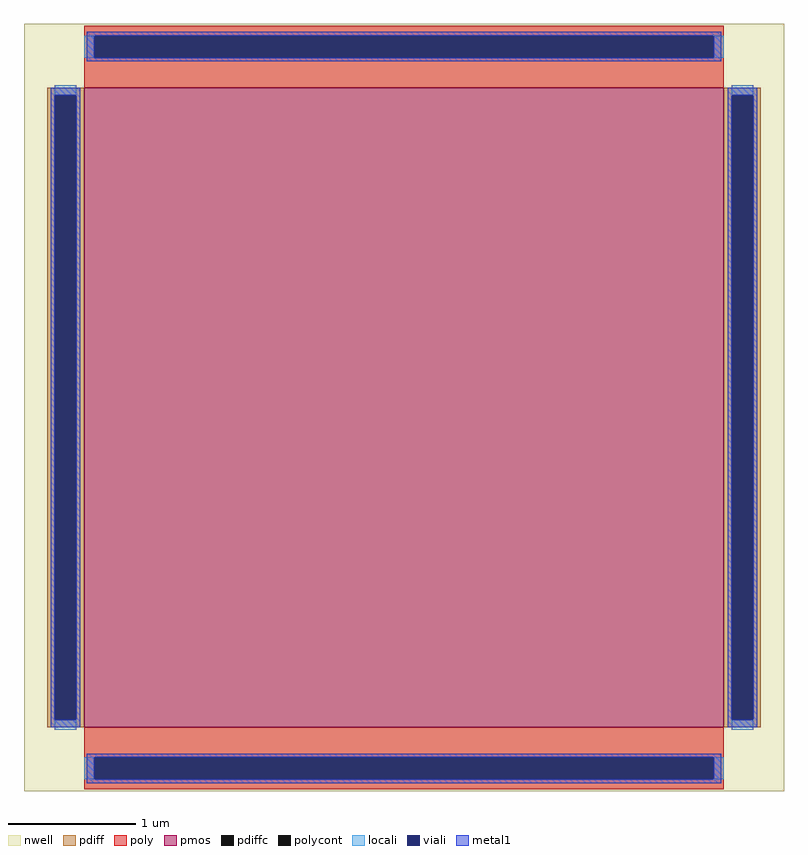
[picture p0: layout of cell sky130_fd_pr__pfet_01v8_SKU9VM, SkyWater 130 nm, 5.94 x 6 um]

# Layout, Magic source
magic
tech sky130A
magscale 1 2
<< nwell >>
rect -594 -600 594 600
<< pmos >>
rect -500 -500 500 500
<< pdiff >>
rect -558 488 -500 500
rect -558 -488 -546 488
rect -512 -488 -500 488
rect -558 -500 -500 -488
rect 500 488 558 500
rect 500 -488 512 488
rect 546 -488 558 488
rect 500 -500 558 -488
<< pdiffc >>
rect -546 -488 -512 488
rect 512 -488 546 488
<< poly >>
rect -500 581 500 597
rect -500 547 -484 581
rect 484 547 500 581
rect -500 500 500 547
rect -500 -547 500 -500
rect -500 -581 -484 -547
rect 484 -581 500 -547
rect -500 -597 500 -581
<< polycont >>
rect -484 547 484 581
rect -484 -581 484 -547
<< locali >>
rect -500 547 -484 581
rect 484 547 500 581
rect -546 488 -512 504
rect -546 -504 -512 -488
rect 512 488 546 504
rect 512 -504 546 -488
rect -500 -581 -484 -547
rect 484 -581 500 -547
<< viali >>
rect -484 547 484 581
rect -546 -488 -512 488
rect 512 -488 546 488
rect -484 -581 484 -547
<< metal1 >>
rect -496 581 496 587
rect -496 547 -484 581
rect 484 547 496 581
rect -496 541 496 547
rect -552 488 -506 500
rect -552 -488 -546 488
rect -512 -488 -506 488
rect -552 -500 -506 -488
rect 506 488 552 500
rect 506 -488 512 488
rect 546 -488 552 488
rect 506 -500 552 -488
rect -496 -547 496 -541
rect -496 -581 -484 -547
rect 484 -581 496 -547
rect -496 -587 496 -581
<< properties >>
string gencell sky130_fd_pr__pfet_01v8
string library sky130
string parameters w 5.0 l 5.0 m 1 nf 1 diffcov 100 polycov 100 guard 0 glc 1 grc 1 gtc 1 gbc 1 tbcov 100 rlcov 100 topc 1 botc 1 poverlap 0 doverlap 1 lmin 0.15 wmin 0.42 compatible {sky130_fd_pr__pfet_01v8  sky130_fd_pr__pfet_01v8_lvt sky130_fd_pr__pfet_01v8_hvt  sky130_fd_pr__pfet_g5v0d10v5} full_metal 1 viasrc 100 viadrn 100 viagate 100 viagb 0 viagr 0 viagl 0 viagt 0
<< end >>
